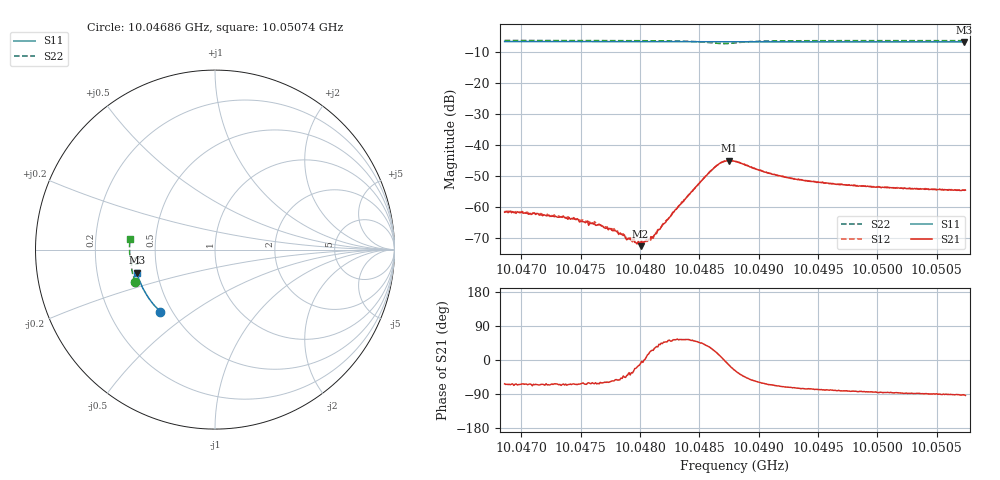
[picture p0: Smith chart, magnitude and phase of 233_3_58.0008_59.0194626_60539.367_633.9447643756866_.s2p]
#  HZ  S  RI  R  50.00
! Rohde & Schwarz Vector Network Analyzer
! Rohde-Schwarz,ZNB20-2Port,1311601062101988,3.16
! Created: UTC 3/21/2024, 1:00:45 AM
! freq[Hz]  re:S11  im:S11  re:S21  im:S21  re:S12  im:S12  re:S22  im:S22
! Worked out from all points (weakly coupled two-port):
!   401 points, 10.04686 GHz to 10.05074 GHz, reference 50 ohm
!   highest |S21| = -44.96 dB at 10.04875 GHz (marker M1); lowest = -72.5 dB at 10.04801 GHz (marker M2)
!   lowest |S11| = -6.9 dB at 10.05073 GHz (marker M3), VSWR 2.66, Z = 19.1 - j6.23 ohm
!   |S11| at or under -10 dB: nowhere
!   |S22| runs from -7.4 to -6.4 dB; largest |S21 - S12| = 0.0004
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1.0046861e10  -0.3052 -0.3451  0.000381 -0.000744  0.000431 -0.000757  -0.4448 -0.1793
1.0047123e10  -0.3175 -0.333  0.000335 -0.000692  0.000387 -0.000672  -0.4507 -0.1624
1.0047462e10  -0.333 -0.3165  0.000274 -0.000575  0.000318 -0.000551  -0.4574 -0.1396
1.0047511e10  -0.335 -0.3142  0.000281 -0.000526  0.000314 -0.000542  -0.4581 -0.1365
1.0047666e10  -0.3419 -0.3063  0.000267 -0.000449  0.000271 -0.00045  -0.4607 -0.1255
1.0047792e10  -0.3472 -0.2998  0.000258 -0.000334  0.000284 -0.000319  -0.4626 -0.1164
1.0047908e10  -0.3519 -0.2939  0.000269 -0.000178  0.000268 -0.000184  -0.4638 -0.1076
1.0047957e10  -0.354 -0.2913  0.000253 -0.000105  0.000254 -0.000128  -0.4642 -0.1037
1.0048005e10  -0.3559 -0.2887  0.000235 -3.83e-05  0.000278 -2.57e-05  -0.4646 -0.1
1.0048073e10  -0.3586 -0.2852  0.00029 8.25e-05  0.000289 0.000115  -0.4653 -0.0944
1.0048122e10  -0.3604 -0.2828  0.000309 0.000184  0.000312 0.000214  -0.4655 -0.0902
1.0048161e10  -0.362 -0.2806  0.000328 0.00029  0.000306 0.000323  -0.4654 -0.087
1.0048316e10  -0.368 -0.2722  0.000559 0.000808  0.00053 0.000836  -0.4637 -0.0721
1.0048578e10  -0.3773 -0.2577  0.00287 0.00205  0.00277 0.00221  -0.442 -0.0468
1.0048675e10  -0.3806 -0.2524  0.00503 0.000972  0.00496 0.00126  -0.4236 -0.0539
1.0048752e10  -0.3831 -0.2482  0.00548 -0.00138  0.00559 -0.00104  -0.4229 -0.0722
1.0048801e10  -0.3846 -0.2457  0.00487 -0.00255  0.00503 -0.00226  -0.4309 -0.0796
1.004914e10  -0.3963 -0.2263  0.00128 -0.00308  0.00147 -0.003  -0.4681 -0.0573
1.004945e10  -0.4055 -0.2081  0.000592 -0.00253  0.000734 -0.00251  -0.4743 -0.0307
1.00501e10  -0.4223 -0.1688  0.000127 -0.00206  0.00025 -0.00207  -0.4761 0.0167
1.005073e10  -0.435 -0.1294  -6.54e-05 -0.00188  -6.33e-06 -0.00191  -0.4724 0.0597
1.005074e10  -0.4353 -0.1288  -0.000112 -0.00189  4.61e-05 -0.00189  -0.4724 0.0602
